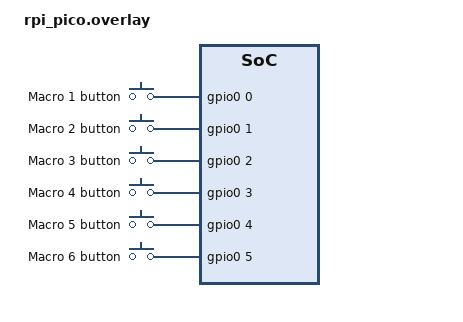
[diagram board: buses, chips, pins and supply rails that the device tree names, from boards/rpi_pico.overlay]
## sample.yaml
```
# This file is provided so that the application can be compiled using Twister,
# the Zephyr testing tool. In this file, multiple combinations can be specified,
# so that you can easily test all of them locally or in CI.
sample:
  description: Example application
  name: example-application 
common:
  build_only: true
  integration_platforms:
    - rpi_pico
tests:
  app.default: {}
  app.debug:
    extra_overlay_confs:
      - debug.conf
```

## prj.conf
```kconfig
# Copyright (c) 2021 Nordic Semiconductor ASA
# SPDX-License-Identifier: Apache-2.0
#
# This file contains selected Kconfig options for the application.

CONFIG_USB_DEVICE_STACK=y
CONFIG_USB_DEVICE_HID=y
CONFIG_USB_DEVICE_PRODUCT="Makro_keyboard_hid"
CONFIG_USB_DEVICE_PID=0x0006
CONFIG_USB_HID_BOOT_PROTOCOL=y
CONFIG_USB_DEVICE_INITIALIZE_AT_BOOT=n

CONFIG_LOG=y
CONFIG_USB_DRIVER_LOG_LEVEL_ERR=y
CONFIG_USB_DEVICE_LOG_LEVEL_ERR=y

CONFIG_USB_DEVICE_SOF=y
CONFIG_USB_HID_REPORTS=1
```

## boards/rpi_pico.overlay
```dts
/ {
	aliases {
		sw0 = &button0;
		sw1 = &button1;
		sw2 = &button2;
		sw3 = &button3;
		sw4 = &button4;
		sw5 = &button5;
	};

	buttons {
		compatible = "gpio-keys";
		button0: button_0 {
			gpios = < &gpio0 0 GPIO_ACTIVE_HIGH >;
			label = "Macro 1 button";
		};
			
		button1: button_1 {
			gpios = < &gpio0 1 GPIO_ACTIVE_HIGH >;
			label = "Macro 2 button";
		};

		button2: button_2 {
			gpios = < &gpio0 2 GPIO_ACTIVE_HIGH >;
			label = "Macro 3 button";
		};
	
		button3: button_3 {
			gpios = < &gpio0 3 GPIO_ACTIVE_HIGH >;
			label = "Macro 4 button";
		};
	
		button4: button_4 {
			gpios = < &gpio0 4 GPIO_ACTIVE_HIGH >;
			label = "Macro 5 button";
		};
		
		button5: button_5 {
			gpios = < &gpio0 5 GPIO_ACTIVE_HIGH >;
			label = "Macro 6 button";
		};
	};
};
```

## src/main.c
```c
/*
 * Copyright (c) 2016 Intel Corporation
 *
 * SPDX-License-Identifier: Apache-2.0
 */

#include <zephyr/kernel.h>
#include <zephyr/device.h>
#include <zephyr/drivers/gpio.h>
#include <zephyr/input/input.h>
#include <zephyr/sys/util.h>
#include <zephyr/usb/usb_device.h>
#include <zephyr/usb/class/usb_hid.h>
#include <zephyr/logging/log.h>

#define LOG_LEVEL LOG_LEVL_DBG
LOG_MODULE_REGISTER( main );

#define LED0_NODE DT_ALIAS(led0)

static const struct device *hid_dev;


static const uint8_t hid_report_desc[] = HID_KEYBOARD_REPORT_DESC();

static struct gpio_callback gpio_callbacks[6];

const struct gpio_dt_spec led = GPIO_DT_SPEC_GET(LED0_NODE, gpios);

static enum usb_dc_status_code usb_status;

#define BUTTON0 DT_ALIAS(sw0)
#define BUTTON1 DT_ALIAS(sw1)
#define BUTTON2 DT_ALIAS(sw2)
#define BUTTON3 DT_ALIAS(sw3)
#define BUTTON4 DT_ALIAS(sw4)
#define BUTTON5 DT_ALIAS(sw5)

static const struct gpio_dt_spec button0 = GPIO_DT_SPEC_GET(BUTTON0, gpios);
static const struct gpio_dt_spec button1 = GPIO_DT_SPEC_GET(BUTTON1, gpios);
static const struct gpio_dt_spec button2 = GPIO_DT_SPEC_GET(BUTTON2, gpios);
static const struct gpio_dt_spec button3 = GPIO_DT_SPEC_GET(BUTTON3, gpios);
static const struct gpio_dt_spec button4 = GPIO_DT_SPEC_GET(BUTTON4, gpios);
static const struct gpio_dt_spec button5 = GPIO_DT_SPEC_GET(BUTTON5, gpios);


#define DEBOUNCING_TIME 25


uint8_t mod_keys_mask[] = { 0x03, 0x03, 0x06, 0x06, 0x04, 0x04 };
uint8_t button_pressed[] = { 0x0D, 0x0E, 0x28, 0x06, 0x13, 0x05 };
uint8_t empty_report[] = {0x00, 0x00, 0x00, 0x00, 0x00, 0x00, 0x00, 0x00};


static void send_report_button0( struct k_work *work )
{
	uint8_t report[] = { mod_keys_mask[0], 0x00, button_pressed[0], 0x00,
			     0x00, 0x00, 0x00, 0x00 };
	hid_int_ep_write( hid_dev, report, sizeof( report ), NULL);
	k_msleep( 100 );
	hid_int_ep_write( hid_dev, empty_report, sizeof( empty_report ), NULL);
	
}

static void send_report_button1( struct k_work *work )
{
	uint8_t report[] = { mod_keys_mask[1], 0x00, button_pressed[1], 0x00,
			     0x00, 0x00, 0x00, 0x00 };
	
	hid_int_ep_write( hid_dev, report, sizeof( report ), NULL);
	k_msleep( 100 );
	hid_int_ep_write( hid_dev, empty_report, sizeof( empty_report ), NULL);
	
}

static void send_report_button2( struct k_work *work )
{
	uint8_t report[] = { mod_keys_mask[2], 0x00, button_pressed[2], 0x00,
			     0x00, 0x00, 0x00, 0x00 };
	
	hid_int_ep_write( hid_dev, report, sizeof( report ), NULL);	
	k_msleep( 100 );
	hid_int_ep_write( hid_dev, empty_report, sizeof( empty_report ), NULL);
}

static void send_report_button3( struct k_work *work )
{
	uint8_t report[] = { mod_keys_mask[3], 0x00, button_pressed[3], 0x00,
			     0x00, 0x00, 0x00, 0x00 };

	hid_int_ep_write( hid_dev, report, sizeof( report ), NULL);	
	k_msleep( 100 );
	hid_int_ep_write( hid_dev, empty_report, sizeof( empty_report ), NULL);
}

static void send_report_button4( struct k_work *work )
{
	uint8_t report[] = { mod_keys_mask[4], 0x00, button_pressed[4], 0x00,
			     0x00, 0x00, 0x00, 0x00 };

	hid_int_ep_write( hid_dev, report, sizeof( report ), NULL);	
	k_msleep( 100 );
	hid_int_ep_write( hid_dev, empty_report, sizeof( empty_report ), NULL);
	
}

static void send_report_button5( struct k_work *work )
{
	uint8_t report[] = { mod_keys_mask[5], 0x00, button_pressed[5], 0x00,
			     0x00, 0x00, 0x00, 0x00 };
	
	hid_int_ep_write( hid_dev, report, sizeof( report ), NULL);	
	k_msleep( 100 );
	hid_int_ep_write( hid_dev, empty_report, sizeof( empty_report ), NULL);
}

static K_WORK_DELAYABLE_DEFINE( button0_work, send_report_button0 );
static K_WORK_DELAYABLE_DEFINE( button1_work, send_report_button1 );
static K_WORK_DELAYABLE_DEFINE( button2_work, send_report_button2 );
static K_WORK_DELAYABLE_DEFINE( button3_work, send_report_button3 );
static K_WORK_DELAYABLE_DEFINE( button4_work, send_report_button4 );
static K_WORK_DELAYABLE_DEFINE( button5_work, send_report_button5 );

void button0_pressed( const struct device *dev, struct gpio_callback *cb, uint32_t pins )
{
	k_work_reschedule( &button0_work, K_MSEC( DEBOUNCING_TIME ));
}

void button1_pressed( const struct device *dev, struct gpio_callback *cb, uint32_t pins )
{
	k_work_reschedule( &button1_work, K_MSEC( DEBOUNCING_TIME ));
}

void button2_pressed( const struct device *dev, struct gpio_callback *cb, uint32_t pins )
{
	k_work_reschedule( &button2_work, K_MSEC( DEBOUNCING_TIME ));
}

void button3_pressed( const struct device *dev, struct gpio_callback *cb, uint32_t pins )
{
	k_work_reschedule( &button3_work, K_MSEC( DEBOUNCING_TIME ));
}

void button4_pressed( const struct device *dev, struct gpio_callback *cb, uint32_t pins )
{
	k_work_reschedule( &button4_work, K_MSEC( DEBOUNCING_TIME ));
}

void button5_pressed( const struct device *dev, struct gpio_callback *cb, uint32_t pins )
{
	k_work_reschedule( &button5_work, K_MSEC( DEBOUNCING_TIME ));
}

static void status_cb( enum usb_dc_status_code status, const uint8_t *param )
{
	usb_status = status;
}

int callbacks_configure( const struct gpio_dt_spec *gpio, void ( *handler )( const struct device*, struct gpio_callback*, uint32_t ), struct gpio_callback *callback)
{
	if ( !device_is_ready( gpio->port ) )
	{
		LOG_ERR( "%s: device not ready.", gpio->port->name );
		return -ENODEV;
	}

	gpio_pin_configure_dt( gpio, GPIO_INPUT );
	gpio_init_callback( callback, handler, BIT( gpio->pin ));
	gpio_add_callback( gpio->port, callback );
	gpio_pin_interrupt_configure_dt( gpio, GPIO_INT_EDGE_RISING );	
	return 0;
}

int main(void)
{
	int ret;

	if( !gpio_is_ready_dt( &led ) )
	{
		LOG_ERR( "LED device %s not ready.", led.port->name );
		return 0;
	}
	
	ret = gpio_pin_configure_dt( &led, GPIO_OUTPUT_ACTIVE );
	if( ret < 0 )
	{
		return 0;
	}


	hid_dev = device_get_binding( "HID_0");
	
	if ( hid_dev == NULL )
	{
		
		LOG_ERR( "Cannot get USB HID Device" );
		return 0;
	}
	
	usb_hid_register_device( hid_dev, hid_report_desc, sizeof( hid_report_desc ), NULL );
	usb_hid_init( hid_dev );
	ret = usb_enable( status_cb );

	if( ret != 0 )
	{
		
		gpio_pin_toggle( led.port, led.pin );
		LOG_ERR( "Failed to enable USB" );
		return 0;
	}

	
	if ( callbacks_configure( &button0, &button0_pressed, &gpio_callbacks[0] ) )
	{
		LOG_ERR( "Failed configuring button 0 callback.");
		return 0;
	}

	if ( callbacks_configure( &button1, &button1_pressed, &gpio_callbacks[1] ) )
	{
		LOG_ERR( "Failed configuring button 1 callback.");
		return 0;
	}

	if ( callbacks_configure( &button2, &button2_pressed, &gpio_callbacks[2] ) )
	{
		LOG_ERR( "Failed configuring button 2 callback.");
		return 0;
	}

	if ( callbacks_configure( &button3, &button3_pressed, &gpio_callbacks[3] ) )
	{
		LOG_ERR( "Failed configuring button 3 callback.");
		return 0;
	}

	if ( callbacks_configure( &button4, &button4_pressed, &gpio_callbacks[4] ) )
	{
		LOG_ERR( "Failed configuring button 4 callback.");
		return 0;
	}

	if ( callbacks_configure( &button5, &button5_pressed, &gpio_callbacks[5] ) )
	{
		LOG_ERR( "Failed configuring button 5 callback.");
		return 0;
	}

	while( true )
	{
		gpio_pin_toggle( led.port, led.pin );
		k_msleep(1000);
	}
	
	return 0;
}
```
